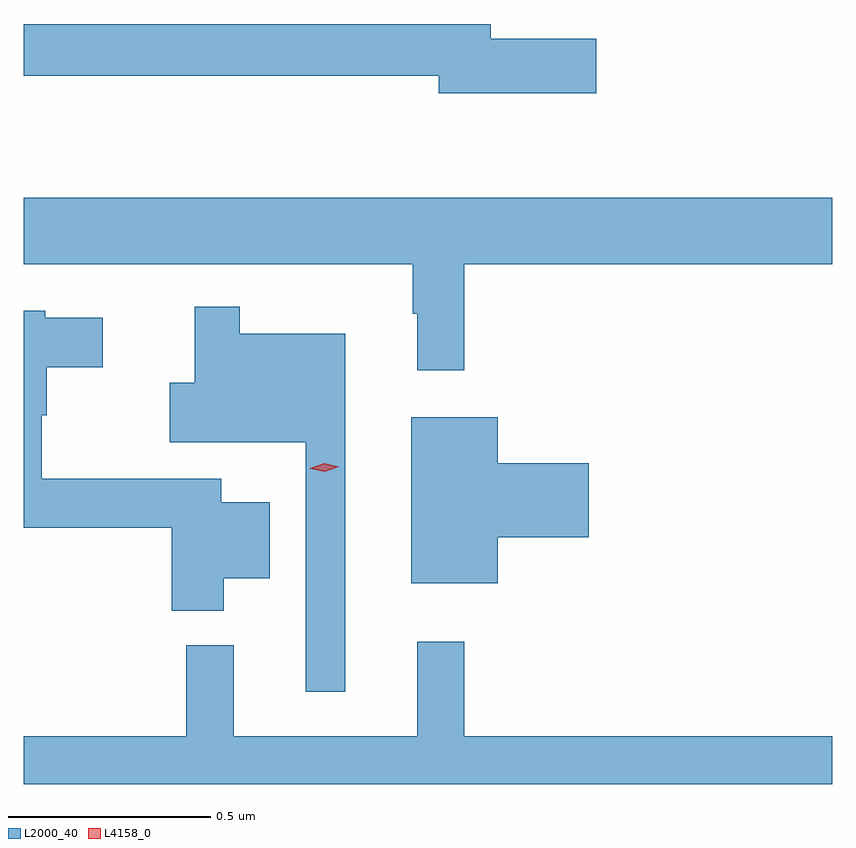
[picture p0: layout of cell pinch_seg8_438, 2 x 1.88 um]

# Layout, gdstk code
import gdstk
lib = gdstk.Library(unit=1e-6, precision=1e-09)
def P(c, l, *ps):  # polygons
    for p in ps: c.add(gdstk.Polygon(p, *l))
L2000_40 = (2000, 40)
L4158_0 = (4158, 0)

pinch_seg8_438 = lib.new_cell('pinch_seg8_438')
P(pinch_seg8_438, L2000_40, [(293.827,1133.042),(293.566,1133.042),(293.566,1133.078),(292.411,1133.078),(292.411,1132.95),(293.438,1132.95),(293.438,1132.907),(293.827,1132.907)],
  [(293.501,1132.484),(294.411,1132.484),(294.411,1132.648),(292.411,1132.648),(292.411,1132.484),(293.373,1132.484),(293.373,1132.361),(293.384,1132.361),(293.384,1132.221),(293.501,1132.221)],
  [(293.206,1132.312),(292.945,1132.312),(292.945,1132.378),(292.834,1132.378),(292.834,1132.191),(292.772,1132.191),(292.772,1132.043),(293.109,1132.043),(293.109,1131.426),(293.206,1131.426)],
  [(292.906,1131.707),(293.02,1131.707),(293.02,1131.895),(292.9,1131.895),(292.9,1131.953),(292.456,1131.953),(292.456,1132.11),(292.468,1132.11),(292.468,1132.229),(292.606,1132.229),(292.606,1132.351),(292.464,1132.351),(292.464,1132.369),(292.411,1132.369),(292.411,1131.832),(292.777,1131.832),(292.777,1131.626),(292.906,1131.626)],
  [(293.584,1131.809),(293.809,1131.809),(293.809,1131.992),(293.584,1131.992),(293.584,1132.105),(293.369,1132.105),(293.369,1131.695),(293.584,1131.695)],
  [(294.411,1131.316),(293.501,1131.316),(293.501,1131.55),(293.384,1131.55),(293.384,1131.316),(292.931,1131.316),(292.931,1131.541),(292.813,1131.541),(292.813,1131.316),(292.411,1131.316),(292.411,1131.198),(294.411,1131.198)])
P(pinch_seg8_438, L4158_0, [(293.156,1131.971),(293.12,1131.978),(293.119,1131.979),(293.12,1131.979),(293.154,1131.991),(293.19,1131.983),(293.19,1131.983),(293.19,1131.983)])

lib.write_gds('pinch_seg8_438.gds')
